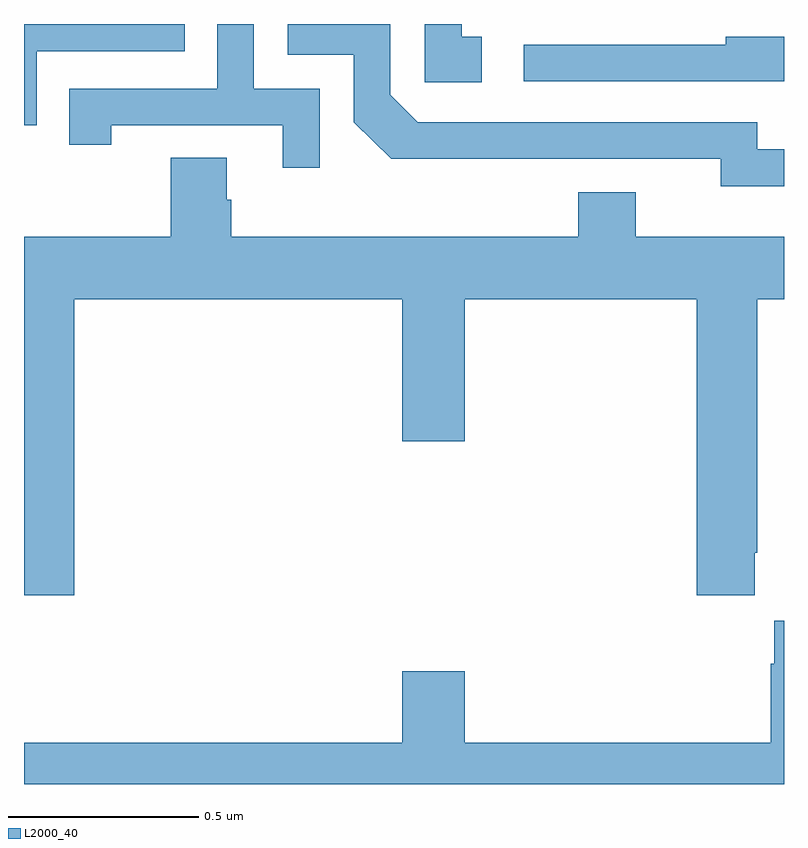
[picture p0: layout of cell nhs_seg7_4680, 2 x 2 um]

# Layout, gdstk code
import gdstk
lib = gdstk.Library(unit=1e-6, precision=1e-09)
def P(c, l, *ps):  # polygons
    for p in ps: c.add(gdstk.Polygon(p, *l))
L2000_40 = (2000, 40)

nhs_seg7_4680 = lib.new_cell('nhs_seg7_4680')
P(nhs_seg7_4680, L2000_40, [(176.034,1007.928),(176.423,1007.928),(176.423,1008),(176,1008),(176,1007.733),(176.034,1007.733)],
  [(177.205,1007.967),(177.152,1007.967),(177.152,1008),(177.054,1008),(177.054,1007.847),(177.205,1007.847)],
  [(176.778,1007.829),(176.604,1007.829),(176.604,1008),(176.508,1008),(176.508,1007.829),(176.119,1007.829),(176.119,1007.682),(176.23,1007.682),(176.23,1007.733),(176.681,1007.733),(176.681,1007.622),(176.778,1007.622)],
  [(178,1007.67),(177.93,1007.67),(177.93,1007.742),(177.036,1007.742),(176.964,1007.814),(176.964,1008),(176.694,1008),(176.694,1007.919),(176.868,1007.919),(176.868,1007.742),(176.966,1007.645),(177.374,1007.645),(177.374,1007.646),(177.834,1007.646),(177.834,1007.573),(178,1007.573)],
  [(178,1007.966),(177.847,1007.966),(177.847,1007.946),(177.315,1007.946),(177.315,1007.85),(178,1007.85)],
  [(176.132,1007.276),(176.996,1007.276),(176.996,1006.902),(177.16,1006.902),(177.16,1007.276),(177.77,1007.276),(177.77,1006.497),(177.923,1006.497),(177.923,1006.609),(177.93,1006.609),(177.93,1007.276),(178,1007.276),(178,1007.44),(177.61,1007.44),(177.61,1007.557),(177.458,1007.557),(177.458,1007.44),(176.546,1007.44),(176.546,1007.538),(176.533,1007.538),(176.533,1007.648),(176.386,1007.648),(176.386,1007.44),(176,1007.44),(176,1006.497),(176.132,1006.497)],
  [(178,1006.429),(177.974,1006.429),(177.974,1006.316),(177.965,1006.316),(177.965,1006.108),(177.16,1006.108),(177.16,1006.297),(176.996,1006.297),(176.996,1006.108),(176,1006.108),(176,1006),(178,1006)])

lib.write_gds('nhs_seg7_4680.gds')
